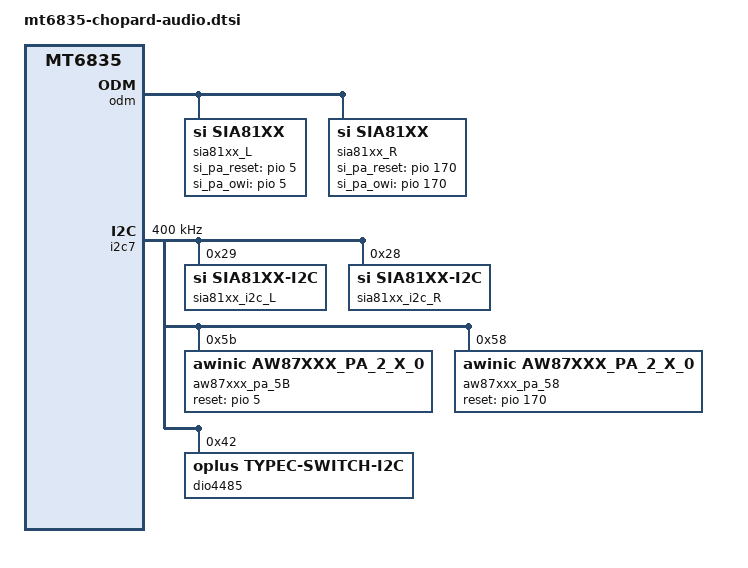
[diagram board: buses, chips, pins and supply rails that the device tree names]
/* Copyright (c) 2018, The Linux Foundation. All rights reserved.
 *
 * This program is free software; you can redistribute it and/or modify
 * it under the terms of the GNU General Public License version 2 and
 * only version 2 as published by the Free Software Foundation.
 *
 * This program is distributed in the hope that it will be useful,
 * but WITHOUT ANY WARRANTY; without even the implied warranty of
 * MERCHANTABILITY or FITNESS FOR A PARTICULAR PURPOSE.  See the
 * GNU General Public License for more details.
 */

&pio {
        sia81xx_gpio_L: sia81xx_gpio_L {
                pins_cmd_dat {
                        pinmux = <PINMUX_GPIO5__FUNC_GPIO5>;
                        slew-rate = <1>;
                        bias-disable;
                };
        };

        sia81xx_gpio_R: sia81xx_gpio_R {
                pins_cmd_dat {
                        pinmux = <PINMUX_GPIO170__FUNC_GPIO170>;
                        slew-rate = <1>;
                        bias-disable;
                };
        };
};

&odm {
       sia81xx_L: sia81xx@L{
                compatible = "si,sia81xx";
                si,si_pa_type = "sia815T";
                si,si_pa_reset = <&pio 5 0>;
                si,si_pa_owi = <&pio 5 0>;
                pinctrl-names = "si_pa_gpio";
                pinctrl-0 = <&sia81xx_gpio_L>;
                si,si_pa_disable_pin = <0>;
                channel_num = <0>;
                owi_mode = <1>;
        };
        sia81xx_R: sia81xx@R{
                compatible = "si,sia81xx";
                si,si_pa_type = "sia815T";
                si,si_pa_reset = <&pio 170 0>;
                si,si_pa_owi = <&pio 170 0>;
                pinctrl-names = "si_pa_gpio";
                pinctrl-0 = <&sia81xx_gpio_R>;
                si,si_pa_disable_pin = <0>;
                channel_num = <1>;
                owi_mode = <1>;
        };
};

&i2c7 {
        #address-cells = <1>;
        #size-cells = <0>;
        clock-frequency = <400000>;

        sia81xx_i2c_L: sia81xx_i2c@L {
                compatible = "si,sia81xx-i2c";
                reg = <0x29>;
                si,sipa-dev = <&sia81xx_L>;
        };
        sia81xx_i2c_R: sia81xx_i2c@R {
                compatible = "si,sia81xx-i2c";
                reg = <0x28>;
                si,sipa-dev = <&sia81xx_R>;
        };

        aw87xxx_pa_5B@5B {
                compatible = "awinic,aw87xxx_pa_2_x_0";
                reg = <0x5B>;
                reset-gpio = <&pio 5 0>;
                dev_index = < 0 >;
                status = "okay";
        };
        aw87xxx_pa_58@58 {
                compatible = "awinic,aw87xxx_pa_2_x_0";
                reg = <0x58>;
                reset-gpio = <&pio 170 0>;
                dev_index = < 1 >;
                status = "okay";
        };

	dio4485: dio4485@42 {
		compatible = "oplus,typec-switch-i2c";
		reg = <0x42>;
		// add for supporting type-c headphone detect bypass
		oplus,hp-bypass = <1>;
		status = "okay";
	};
};

&sound {
        si,sia81xx-max-num = <2>;
        si,sia81xx-aux-devs = <&sia81xx_L>, <&sia81xx_R>;
        si,sia81xx-aux-devs-prefix = "SpkrLeft", "SpkrRight";
        /* 2024/5/28, add for dual PA special dapm handle to resolve pop sound when PA closing */
        oplus,special-pa-dapm = <1>;
};

&accdet{
        // eint_use_ext_res = <1>;
        // headset-eint-trig-mode = <2>;
        headset-three-key-threshold = <0 80 170 306>;
        hp-eint0-disable = <1>;
        headset-eint0-disable = <1>;
        hp-plug-in-check = <1>;
};
&speech_usip_mem{
	adsp-phone-call-enh-enable = <0x5>;
};
